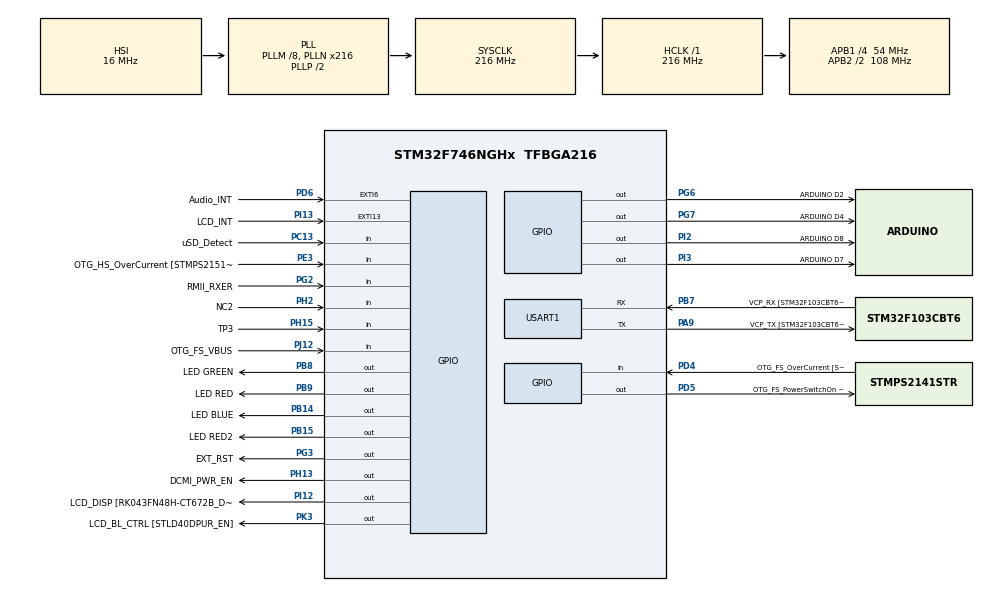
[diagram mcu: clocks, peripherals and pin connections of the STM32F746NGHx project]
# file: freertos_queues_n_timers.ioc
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Mcu.Family=STM32F7
Mcu.Name=STM32F746NGHx
Mcu.Package=TFBGA216
NVIC.PriorityGroup=NVIC_PRIORITYGROUP_4
NVIC.TIM6_DAC_IRQn=true\:15\:0\:false\:false\:true\:false\:true\:true
NVIC.TimeBase=TIM6_DAC_IRQn
NVIC.TimeBaseIP=TIM6
NVIC.USART1_IRQn=true\:6\:0\:true\:false\:true\:true\:true\:true
PA0/WKUP.GPIO_Label=ARDUINO A0
PA0/WKUP.GPIO_Mode=GPIO_MODE_ANALOG
PA0/WKUP.GPIO_PuPd=GPIO_NOPULL
PA0/WKUP.Signal=ADCx_IN0
PA1.GPIO_Label=RMII_REF_CLK [LAN8742A-CZ-TR_REFCLK0]
PA1.Signal=ETH_REF_CLK
PA10.GPIO_Label=OTG_FS_ID
PA10.Signal=USB_OTG_FS_ID
PA11.GPIO_Label=OTG_FS_N
PA11.Signal=USB_OTG_FS_DM
PA12.GPIO_Label=OTG_FS_P
PA12.Signal=USB_OTG_FS_DP
PA13.GPIO_Label=SWDIO
PA13.Signal=SYS_JTMS-SWDIO
PA14.GPIO_Label=SWCLK
PA14.Signal=SYS_JTCK-SWCLK
PA15.GPIO_Label=ARDUINO PWM/D9
PA15.GPIO_ModeDefaultPP=GPIO_MODE_AF_PP
PA15.GPIO_PuPd=GPIO_NOPULL
PA15.GPIO_Speed=GPIO_SPEED_FREQ_LOW
PA15.Signal=S_TIM2_CH1_ETR
PA2.GPIO_Label=RMII_MDIO [LAN8742A-CZ-TR_MDIO]
PA2.Signal=ETH_MDIO
PA3.GPIO_Label=ULPI_D0 [USB3320C-EZK_D0]
PA3.Signal=USB_OTG_HS_ULPI_D0
PA4.GPIO_Label=DCMI_HSYNC
PA4.Signal=DCMI_HSYNC
PA5.GPIO_Label=ULPI_CLK [USB3320C-EZK_CLKOUT]
PA5.Signal=USB_OTG_HS_ULPI_CK
PA6.Signal=DCMI_PIXCLK
PA7.GPIO_Label=RMII_CRS_DV [LAN8742A-CZ-TR_CRS_DV]
PA7.Signal=ETH_CRS_DV
PA8.GPIO_Label=ARDUINO PWM/D10
PA8.GPIO_ModeDefaultPP=GPIO_MODE_AF_PP
PA8.GPIO_PuPd=GPIO_NOPULL
PA8.GPIO_Speed=GPIO_SPEED_FREQ_LOW
PA8.Signal=S_TIM1_CH1
PA9.GPIO_Label=VCP_TX [STM32F103CBT6_PA3]
PA9.GPIO_Mode=GPIO_MODE_AF_PP
PA9.GPIO_PuPd=GPIO_NOPULL
PA9.GPIO_Speed=GPIO_SPEED_FREQ_LOW
PA9.Mode=Asynchronous
PA9.Signal=USART1_TX
PB0.GPIO_Label=ULPI_D1 [USB3320C-EZK_D1]
PB0.Signal=USB_OTG_HS_ULPI_D1
PB1.GPIO_Label=ULPI_D2 [USB3320C-EZK_D2]
PB1.Signal=USB_OTG_HS_ULPI_D2
PB10.GPIO_Label=ULPI_D3 [USB3320C-EZK_D3]
PB10.Signal=USB_OTG_HS_ULPI_D3
PB11.GPIO_Label=ULPI_D4 [USB3320C-EZK_D4]
PB11.Signal=USB_OTG_HS_ULPI_D4
PB12.GPIO_Label=ULPI_D5 [USB3320C-EZK_D5]
PB12.Signal=USB_OTG_HS_ULPI_D5
PB13.GPIO_Label=ULPI_D6 [USB3320C-EZK_D6]
PB13.Signal=USB_OTG_HS_ULPI_D6
PB14.GPIO_Label=LED BLUE
PB14.Signal=GPIO_Output
PB15.GPIO_Label=LED RED2
PB15.Signal=GPIO_Output
PB2.Signal=QUADSPI_CLK
PB3.GPIO_Label=SWO
PB3.Signal=SYS_JTDO-SWO
PB4.GPIO_Label=ARDUINO PWM/D3
PB4.GPIO_ModeDefaultPP=GPIO_MODE_AF_PP
PB4.GPIO_PuPd=GPIO_NOPULL
PB4.GPIO_Speed=GPIO_SPEED_FREQ_LOW
PB4.Signal=S_TIM3_CH1
PB5.GPIO_Label=ULPI_D7 [USB3320C-EZK_D7]
PB5.Signal=USB_OTG_HS_ULPI_D7
PB6.GPIO_Label=QSPI_NCS [N25Q128A13EF840E_S]
PB6.Signal=QUADSPI_BK1_NCS
PB7.GPIO_Label=VCP_RX [STM32F103CBT6_PA2]
PB7.GPIO_Mode=GPIO_MODE_AF_PP
PB7.GPIO_PuPd=GPIO_NOPULL
PB7.GPIO_Speed=GPIO_SPEED_FREQ_LOW
PB7.Mode=Asynchronous
PB7.Signal=USART1_RX
PB8.GPIO_Label=LED GREEN
PB8.Signal=GPIO_Output
PB9.GPIO_Label=LED RED
PB9.Signal=GPIO_Output
PC0.GPIO_Label=ULPI_STP [USB3320C-EZK_STP]
PC0.Signal=USB_OTG_HS_ULPI_STP
PC1.GPIO_Label=RMII_MDC [LAN8742A-CZ-TR_MDC]
PC1.Signal=ETH_MDC
PC10.GPIO_Label=SDMMC_D2
PC10.Signal=SDMMC1_D2
PC11.GPIO_Label=SDMMC_D3
PC11.Signal=SDMMC1_D3
PC12.GPIO_Label=SDMMC_CK
PC12.Signal=SDMMC1_CK
PC13.GPIO_Label=uSD_Detect
PC13.Signal=GPIO_Input
PC14/OSC32_IN.GPIO_Label=RCC_OSC32_IN
PC14/OSC32_IN.Signal=RCC_OSC32_IN
PC15/OSC32_OUT.GPIO_Label=RCC_OSC32_OUT
PC15/OSC32_OUT.Signal=RCC_OSC32_OUT
PC2.GPIO_Label=ULPI_DIR [USB3320C-EZK_DIR]
PC2.Signal=USB_OTG_HS_ULPI_DIR
PC3.GPIO_Label=FMC_SDCKE0 [MT48LC4M32B2B5-6A_CKE]
PC3.Signal=FMC_SDCKE0
PC4.GPIO_Label=RMII_RXD0 [LAN8742A-CZ-TR_RXD0]
PC4.Signal=ETH_RXD0
PC5.GPIO_Label=RMII_RXD1 [LAN8742A-CZ-TR_RXD1]
PC5.Signal=ETH_RXD1
PC6.GPIO_Label=ARDUINO TX/D1
PC6.Signal=USART6_TX
PC7.GPIO_Label=ARDUINO RX/D0
PC7.Signal=USART6_RX
PC8.Signal=SDMMC1_D0
PC9.Signal=SDMMC1_D1
PD0.GPIO_Label=FMC_D2 [MT48LC4M32B2B5-6A_DQ2]
PD0.Signal=FMC_D2_DA2
PD1.GPIO_Label=FMC_D3 [MT48LC4M32B2B5-6A_DQ3]
PD1.Signal=FMC_D3_DA3
PD10.GPIO_Label=FMC_D15 [MT48LC4M32B2B5-6A_DQ15]
PD10.Signal=FMC_D15_DA15
PD11.GPIO_Label=QSPI_D0 [N25Q128A13EF840E_DQ0]
PD11.Signal=QUADSPI_BK1_IO0
PD12.GPIO_Label=QSPI_D1 [N25Q128A13EF840E_DQ1]
PD12.Signal=QUADSPI_BK1_IO1
PD13.GPIO_Label=QSPI_D3 [N25Q128A13EF840E_DQ3]
PD13.Signal=QUADSPI_BK1_IO3
PD14.GPIO_Label=FMC_D0 [MT48LC4M32B2B5-6A_DQ0]
PD14.Signal=FMC_D0_DA0
PD15.GPIO_Label=FMC_D1 [MT48LC4M32B2B5-6A_DQ1]
PD15.Signal=FMC_D1_DA1
PD2.GPIO_Label=SDMMC_D0
PD2.Signal=SDMMC1_CMD
PD3.GPIO_Label=DCMI_D5
PD3.Signal=DCMI_D5
PD4.GPIO_Label=OTG_FS_OverCurrent [STMPS2141STR_Fault]
PD4.Signal=GPIO_Input
PD5.GPIO_Label=OTG_FS_PowerSwitchOn [STMPS2141STR_EN]
PD5.PinState=GPIO_PIN_SET
PD5.Signal=GPIO_Output
PD6.GPIO_Label=Audio_INT
PD6.GPIO_ModeDefaultEXTI=GPIO_MODE_EVT_RISING
PD6.Signal=GPXTI6
PD7.GPIO_Label=SPDIF_RX0 [74LVC1G04SE_4]
PD7.Signal=SPDIFRX_IN0
PD8.GPIO_Label=FMC_D13 [MT48LC4M32B2B5-6A_DQ13]
PD8.Signal=FMC_D13_DA13
PD9.GPIO_Label=FMC_D14 [MT48LC4M32B2B5-6A_DQ14]
PD9.Signal=FMC_D14_DA14
PE0.GPIO_Label=FMC_NBL0 [MT48LC4M32B2B5-6A_DQM0]
PE0.Signal=FMC_NBL0
PE1.GPIO_Label=FMC_NBL1 [MT48LC4M32B2B5-6A_DQM1]
PE1.Signal=FMC_NBL1
PE10.GPIO_Label=FMC_D7 [MT48LC4M32B2B5-6A_DQ7]
PE10.Signal=FMC_D7_DA7
PE11.GPIO_Label=FMC_D8 [MT48LC4M32B2B5-6A_DQ8]
PE11.Signal=FMC_D8_DA8
PE12.GPIO_Label=FMC_D9 [MT48LC4M32B2B5-6A_DQ9]
PE12.Signal=FMC_D9_DA9
PE13.GPIO_Label=FMC_D10 [MT48LC4M32B2B5-6A_DQ10]
PE13.Signal=FMC_D10_DA10
PE14.GPIO_Label=FMC_D11 [MT48LC4M32B2B5-6A_DQ11]
PE14.Signal=FMC_D11_DA11
PE15.GPIO_Label=FMC_D12 [MT48LC4M32B2B5-6A_DQ12]
PE15.Signal=FMC_D12_DA12
PE2.GPIO_Label=QSPI_D2 [N25Q128A13EF840E_DQ2]
PE2.Signal=QUADSPI_BK1_IO2
PE3.GPIO_Label=OTG_HS_OverCurrent [STMPS2151STR_FAULT]
PE3.Signal=GPIO_Input
PE4.GPIO_Label=LCD_B0 [RK043FN48H-CT672B_B0]
PE4.Signal=LTDC_B0
PE5.GPIO_Label=DCMI_D6
PE5.Signal=DCMI_D6
PE6.GPIO_Label=DCMI_D7
PE6.Signal=DCMI_D7
PE7.GPIO_Label=FMC_D4 [MT48LC4M32B2B5-6A_DQ4]
PE7.Signal=FMC_D4_DA4
PE8.GPIO_Label=FMC_D5 [MT48LC4M32B2B5-6A_DQ5]
PE8.Signal=FMC_D5_DA5
PE9.GPIO_Label=FMC_D6 [MT48LC4M32B2B5-6A_DQ6]
PE9.Signal=FMC_D6_DA6
PF0.GPIO_Label=FMC_A0 [MT48LC4M32B2B5-6A_A0]
PF0.Signal=FMC_A0
PF1.GPIO_Label=FMC_A1 [MT48LC4M32B2B5-6A_A1]
PF1.Signal=FMC_A1
PF10.GPIO_Label=ARDUINO A1
PF10.GPIO_Mode=GPIO_MODE_ANALOG
PF10.GPIO_PuPd=GPIO_NOPULL
PF10.Signal=ADC3_IN8
PF11.GPIO_Label=FMC_SDNRAS [MT48LC4M32B2B5-6A_RAS]
PF11.Signal=FMC_SDNRAS
PF12.GPIO_Label=FMC_A6 [MT48LC4M32B2B5-6A_A6]
PF12.Signal=FMC_A6
PF13.GPIO_Label=FMC_A7 [MT48LC4M32B2B5-6A_A7]
PF13.Signal=FMC_A7
PF14.GPIO_Label=FMC_A8 [MT48LC4M32B2B5-6A_A8]
PF14.Signal=FMC_A8
PF15.GPIO_Label=FMC_A9 [MT48LC4M32B2B5-6A_A9]
PF15.Signal=FMC_A9
PF2.GPIO_Label=FMC_A2 [MT48LC4M32B2B5-6A_A2]
PF2.Signal=FMC_A2
PF3.GPIO_Label=FMC_A3 [MT48LC4M32B2B5-6A_A3]
PF3.Signal=FMC_A3
PF4.GPIO_Label=FMC_A4 [MT48LC4M32B2B5-6A_A4]
PF4.Signal=FMC_A4
PF5.GPIO_Label=FMC_A5 [MT48LC4M32B2B5-6A_A5]
PF5.Signal=FMC_A5
PF6.GPIO_Label=ARDUINO A5
PF6.GPIO_Mode=GPIO_MODE_ANALOG
PF6.GPIO_PuPd=GPIO_NOPULL
PF6.Signal=ADC3_IN4
PF7.GPIO_Label=ARDUINO A4
PF7.GPIO_Mode=GPIO_MODE_ANALOG
PF7.GPIO_PuPd=GPIO_NOPULL
PF7.Signal=ADC3_IN5
PF8.GPIO_Label=ARDUINO A3
PF8.GPIO_Mode=GPIO_MODE_ANALOG
PF8.GPIO_PuPd=GPIO_NOPULL
PF8.Signal=ADC3_IN6
PF9.GPIO_Label=ARDUINO A2
PF9.GPIO_Mode=GPIO_MODE_ANALOG
PF9.GPIO_PuPd=GPIO_NOPULL
PF9.Signal=ADC3_IN7
PG0.GPIO_Label=FMC_A10 [MT48LC4M32B2B5-6A_A10]
PG0.Signal=FMC_A10
PG1.GPIO_Label=FMC_A11 [MT48LC4M32B2B5-6A_A11]
PG1.Signal=FMC_A11
PG10.GPIO_Label=SAI2_SDB [WM8994ECS/R_ADCDAT1]
PG10.Signal=SAI2_SD_B
PG11.GPIO_Label=RMII_TX_EN [LAN8742A-CZ-TR_TXEN]
PG11.Signal=ETH_TX_EN
PG12.GPIO_Label=LCD_B4 [RK043FN48H-CT672B_B4]
PG12.Signal=LTDC_B4
PG13.GPIO_Label=RMII_TXD0 [LAN8742A-CZ-TR_TXD0]
PG13.Signal=ETH_TXD0
PG14.GPIO_Label=RMII_TXD1 [LAN8742A-CZ-TR_TXD1]
PG14.Signal=ETH_TXD1
PG15.GPIO_Label=FMC_SDNCAS [MT48LC4M32B2B5-6A_CAS]
PG15.Signal=FMC_SDNCAS
PG2.GPIO_Label=RMII_RXER
PG2.Signal=GPIO_Input
PG3.GPIO_Label=EXT_RST
PG3.Signal=GPIO_Output
PG4.GPIO_Label=FMC_BA0 [MT48LC4M32B2B5-6A_BA0]
PG4.Signal=FMC_A14_BA0
PG5.GPIO_Label=FMC_BA1 [MT48LC4M32B2B5-6A_BA1]
PG5.Signal=FMC_A15_BA1
PG6.GPIO_Label=ARDUINO D2
PG6.Signal=GPIO_Output
PG7.GPIO_Label=ARDUINO D4
PG7.Signal=GPIO_Output
PG8.GPIO_Label=FMC_SDCLK [MT48LC4M32B2B5-6A_CLK]
PG8.Signal=FMC_SDCLK
PG9.GPIO_Label=DCMI_VSYNC
PG9.Signal=DCMI_VSYNC
PH0/OSC_IN.GPIO_Label=OSC_25M [NZ2520SB-25.00M_OUT]
PH0/OSC_IN.Signal=RCC_OSC_IN
PH1/OSC_OUT.Signal=RCC_OSC_OUT
PH10.GPIO_Label=DCMI_D1
PH10.Signal=DCMI_D1
PH11.GPIO_Label=DCMI_D2
PH11.Signal=DCMI_D2
PH12.GPIO_Label=DCMI_D3
PH12.Signal=DCMI_D3
PH13.GPIO_Label=DCMI_PWR_EN
PH13.Signal=GPIO_Output
PH14.GPIO_Label=DCMI_D4
PH14.Signal=DCMI_D4
PH15.GPIO_Label=TP3
PH15.Signal=GPIO_Input
PH2.GPIO_Label=NC2
PH2.Signal=GPIO_Input
PH3.GPIO_Label=FMC_SDNE0 [MT48LC4M32B2B5-6A_CS]
PH3.Signal=FMC_SDNE0
PH4.GPIO_Label=ULPI_NXT [USB3320C-EZK_NXT]
PH4.Signal=USB_OTG_HS_ULPI_NXT
PH5.GPIO_Label=FMC_SDNME [MT48LC4M32B2B5-6A_WE]
PH5.Signal=FMC_SDNWE
PH6.GPIO_Label=ARDUINO PWM/D6
PH6.Signal=S_TIM12_CH1
PH7.GPIO_Label=LCD_SCL [RK043FN48H-CT672B_SCL]
PH7.Signal=I2C3_SCL
PH8.GPIO_Label=LCD_SDA [RK043FN48H-CT672B_SDA]
PH8.Signal=I2C3_SDA
PH9.GPIO_Label=DCMI_D0
PH9.Signal=DCMI_D0
PI0.GPIO_Label=ARDUINO PWM/CS/D5
PI0.GPIO_ModeDefaultPP=GPIO_MODE_AF_PP
PI0.GPIO_PuPd=GPIO_NOPULL
PI0.GPIO_Speed=GPIO_SPEED_FREQ_LOW
PI0.Signal=S_TIM5_CH4
PI1.GPIO_Label=ARDUINO SCK/D13
PI1.GPIO_Mode=GPIO_MODE_AF_PP
PI1.GPIO_PuPd=GPIO_NOPULL
PI1.GPIO_Speed=GPIO_SPEED_FREQ_LOW
PI1.Signal=SPI2_SCK
PI10.GPIO_Label=LCD_HSYNC [RK043FN48H-CT672B_HSYNC]
PI10.Signal=LTDC_HSYNC
PI12.GPIO_Label=LCD_DISP [RK043FN48H-CT672B_DISP] 
PI12.Signal=GPIO_Output
PI13.GPIO_Label=LCD_INT
PI13.GPIO_ModeDefaultEXTI=GPIO_MODE_EVT_RISING
PI13.Signal=GPXTI13
PI14.GPIO_Label=LCD_CLK [RK043FN48H-CT672B_CLK]
PI14.Signal=LTDC_CLK
PI15.GPIO_Label=LCD_R0 [RK043FN48H-CT672B_R0]
PI15.Signal=LTDC_R0
PI2.GPIO_Label=ARDUINO D8
PI2.Signal=GPIO_Output
PI3.GPIO_Label=ARDUINO D7
PI3.Signal=GPIO_Output
PI4.GPIO_Label=SAI2_MCLKA [WM8994ECS/R_MCLK1]
PI4.Signal=SAI2_MCLK_A
PI5.GPIO_Label=SAI2_SCKA [WM8994ECS/R_BCLK1]
PI5.Signal=SAI2_SCK_A
PI6.GPIO_Label=SAI2_SDA [WM8994ECS/R_DACDAT1]
PI6.Signal=SAI2_SD_A
PI7.GPIO_Label=SAI2_FSA [WM8994ECS/R_LRCLK1]
PI7.Signal=SAI2_FS_A
PI8.GPIO_Label=NC1 [TP2]
PI8.Signal=RTC_TS
PI9.GPIO_Label=LCD_VSYNC [RK043FN48H-CT672B_VSYNC]
PI9.Signal=LTDC_VSYNC
PJ0.GPIO_Label=LCD_R1 [RK043FN48H-CT672B_R1]
PJ0.Signal=LTDC_R1
PJ1.GPIO_Label=LCD_R2 [RK043FN48H-CT672B_R2]
PJ1.Signal=LTDC_R2
PJ10.GPIO_Label=LCD_G3 [RK043FN48H-CT672B_G3]
PJ10.Signal=LTDC_G3
PJ11.GPIO_Label=LCD_G4 [RK043FN48H-CT672B_G4]
PJ11.Signal=LTDC_G4
PJ12.GPIO_Label=OTG_FS_VBUS
PJ12.Signal=GPIO_Input
PJ13.GPIO_Label=LCD_B1 [RK043FN48H-CT672B_B1]
PJ13.Signal=LTDC_B1
PJ14.GPIO_Label=LCD_B2 [RK043FN48H-CT672B_B2]
PJ14.Signal=LTDC_B2
PJ15.GPIO_Label=LCD_B3 [RK043FN48H-CT672B_B3]
PJ15.Signal=LTDC_B3
PJ2.GPIO_Label=LCD_R3 [RK043FN48H-CT672B_R3]
PJ2.Signal=LTDC_R3
PJ3.GPIO_Label=LCD_R4 [RK043FN48H-CT672B_R4]
PJ3.Signal=LTDC_R4
PJ4.GPIO_Label=LCD_R5 [RK043FN48H-CT672B_R5]
PJ4.Signal=LTDC_R5
PJ5.GPIO_Label=LCD_R6 [RK043FN48H-CT672B_R6]
PJ5.Signal=LTDC_R6
PJ6.GPIO_Label=LCD_R7 [RK043FN48H-CT672B_R7]
PJ6.Signal=LTDC_R7
PJ7.GPIO_Label=LCD_G0 [RK043FN48H-CT672B_G0]
PJ7.Signal=LTDC_G0
PJ8.GPIO_Label=LCD_G1 [RK043FN48H-CT672B_G1]
PJ8.Signal=LTDC_G1
PJ9.GPIO_Label=LCD_G2 [RK043FN48H-CT672B_G2]
PJ9.Signal=LTDC_G2
PK0.GPIO_Label=LCD_G5 [RK043FN48H-CT672B_G5]
PK0.Signal=LTDC_G5
PK1.GPIO_Label=LCD_G6 [RK043FN48H-CT672B_G6]
PK1.Signal=LTDC_G6
PK2.GPIO_Label=LCD_G7 [RK043FN48H-CT672B_G7]
PK2.Signal=LTDC_G7
PK3.GPIO_Label=LCD_BL_CTRL [STLD40DPUR_EN]
PK3.Signal=GPIO_Output
PK4.GPIO_Label=LCD_B5 [RK043FN48H-CT672B_B5]
PK4.Signal=LTDC_B5
PK5.GPIO_Label=LCD_B6 [RK043FN48H-CT672B_B6]
PK5.Signal=LTDC_B6
PK6.GPIO_Label=LCD_B7 [RK043FN48H-CT672B_B7]
PK6.Signal=LTDC_B7
PK7.GPIO_Label=LCD_DE [RK043FN48H-CT672B_DE]
PK7.Signal=LTDC_DE
ProjectManager.HeapSize=0x200
ProjectManager.StackSize=0x400
ProjectManager.TargetToolchain=STM32CubeIDE
RCC.AHBFreq_Value=216000000
RCC.APB1CLKDivider=RCC_HCLK_DIV4
RCC.APB1Freq_Value=54000000
RCC.APB1TimFreq_Value=108000000
RCC.APB2CLKDivider=RCC_HCLK_DIV2
RCC.APB2Freq_Value=108000000
RCC.APB2TimFreq_Value=216000000
RCC.CortexFreq_Value=216000000
RCC.HCLKFreq_Value=216000000
RCC.HSE_VALUE=25000000
RCC.HSI_VALUE=16000000
RCC.LSE_VALUE=32768
RCC.PLLM=8
RCC.PLLN=216
RCC.PLLSourceVirtual=RCC_PLLSOURCE_HSI
RCC.SYSCLKFreq_VALUE=216000000
RCC.SYSCLKSource=RCC_SYSCLKSOURCE_PLLCLK
RCC.USBFreq_Value=216000000
RCC.VCOOutputFreq_Value=432000000
SH.ADCx_IN0.0=ADC3_IN0
SH.FMC_A0.0=FMC_A0
SH.FMC_A1.0=FMC_A1
SH.FMC_A10.0=FMC_A10
SH.FMC_A11.0=FMC_A11
SH.FMC_A14_BA0.0=FMC_BA0
SH.FMC_A15_BA1.0=FMC_BA1
SH.FMC_A2.0=FMC_A2
SH.FMC_A3.0=FMC_A3
SH.FMC_A4.0=FMC_A4
SH.FMC_A5.0=FMC_A5
SH.FMC_A6.0=FMC_A6
SH.FMC_A7.0=FMC_A7
SH.FMC_A8.0=FMC_A8
SH.FMC_A9.0=FMC_A9
SH.FMC_D0_DA0.0=FMC_D0
SH.FMC_D10_DA10.0=FMC_D10
SH.FMC_D11_DA11.0=FMC_D11
SH.FMC_D12_DA12.0=FMC_D12
SH.FMC_D13_DA13.0=FMC_D13
SH.FMC_D14_DA14.0=FMC_D14
SH.FMC_D15_DA15.0=FMC_D15
SH.FMC_D1_DA1.0=FMC_D1
SH.FMC_D2_DA2.0=FMC_D2
SH.FMC_D3_DA3.0=FMC_D3
SH.FMC_D4_DA4.0=FMC_D4
SH.FMC_D5_DA5.0=FMC_D5
SH.FMC_D6_DA6.0=FMC_D6
SH.FMC_D7_DA7.0=FMC_D7
SH.FMC_D8_DA8.0=FMC_D8
SH.FMC_D9_DA9.0=FMC_D9
SH.FMC_NBL0.0=FMC_NBL0
SH.FMC_NBL1.0=FMC_NBL1
SH.FMC_SDCLK.0=FMC_SDCLK
SH.FMC_SDNCAS.0=FMC_SDNCAS
SH.FMC_SDNRAS.0=FMC_SDNRAS
SH.FMC_SDNWE.0=FMC_SDNWE
SH.S_TIM12_CH1.0=TIM12_CH1
SH.S_TIM1_CH1.0=TIM1_CH1
SH.S_TIM2_CH1_ETR.0=TIM2_CH1
SH.S_TIM3_CH1.0=TIM3_CH1
SH.S_TIM5_CH4.0=TIM5_CH4
USART1.VirtualMode-Asynchronous=VM_ASYNC
VP_RTC_VS_RTC_Activate.Mode=RTC_Enabled
VP_SYS_VS_tim6.Mode=TIM6
board=STM32F746G-DISCO

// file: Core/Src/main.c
/* USER CODE BEGIN Header */
/**
  ******************************************************************************
  * @file           : main.c
  * @brief          : Main program body
  ******************************************************************************
  * @attention
  *
  * Copyright (c) 2023 STMicroelectronics.
  * All rights reserved.
  *
  * This software is licensed under terms that can be found in the LICENSE file
  * in the root directory of this software component.
  * If no LICENSE file comes with this software, it is provided AS-IS.
  *
  ******************************************************************************
  */
/* USER CODE END Header */
#include "main.h"

RTC_HandleTypeDef hrtc;

UART_HandleTypeDef huart1;

/* USER CODE BEGIN PV */
xTaskHandle handle_menu_task;
xTaskHandle handle_cmd_task;
xTaskHandle handle_print_task;
xTaskHandle handle_led_task;
xTaskHandle handle_rtc_task;

xTimerHandle handle_led_timer[4];

xTimerHandle rtc_timer;

QueueHandle_t q_data;
QueueHandle_t q_print;

volatile uint8_t user_data;
state_t curr_state = sMainMenu;
/* USER CODE END PV */

void SystemClock_Config(void);
static void MX_GPIO_Init(void);
static void MX_RTC_Init(void);
static void MX_USART1_UART_Init(void);
/* USER CODE BEGIN PFP */
void led_effect_callback(xTimerHandle xTimer);
void rtc_report_callback(xTimerHandle xTimer);
/* USER CODE END PFP */

int main(void)
{
  /* USER CODE BEGIN 1 */
	BaseType_t status;
  /* USER CODE END 1 */

  /* MCU Configuration--------------------------------------------------------*/

  /* Reset of all peripherals, Initializes the Flash interface and the Systick. */
  HAL_Init();

  /* Configure the system clock */
  SystemClock_Config();

  /* Initialize all configured peripherals */
  MX_GPIO_Init();
  MX_RTC_Init();
  MX_USART1_UART_Init();
  /* USER CODE BEGIN 2 */

  status = xTaskCreate(menu_task, "menu_task", 250, NULL, 2, &handle_menu_task);

  configASSERT(status == pdPASS);

  status = xTaskCreate(cmd_handler_task, "cmd_task", 250, NULL, 2, &handle_cmd_task);

  configASSERT(status == pdPASS);

  status = xTaskCreate(print_task, "print_task", 250, NULL, 2, &handle_print_task);

  configASSERT(status == pdPASS);

  status = xTaskCreate(led_task, "led_task", 250, NULL, 2, &handle_led_task);

  configASSERT(status == pdPASS);

  status = xTaskCreate(rtc_task, "rtc_task", 250, NULL, 2, &handle_rtc_task);

  configASSERT(status == pdPASS);

  q_data = xQueueCreate(10, sizeof(char));

  configASSERT(q_data != NULL);

  q_print = xQueueCreate(10, sizeof(size_t));

  configASSERT(q_print != NULL);

  //Create software timers for LED effect
  for (int i=0; i < 4; i++)
  {
	  handle_led_timer[i] = xTimerCreate("led_timer", pdMS_TO_TICKS(500), pdTRUE, (void*)(i+1), led_effect_callback);
  }

  rtc_timer = xTimerCreate("rtc_timer", pdMS_TO_TICKS(1000), pdTRUE, NULL, rtc_report_callback);

  HAL_UART_Receive_IT(&huart1, (uint8_t*)&user_data, 1);

  vTaskStartScheduler();

  /* USER CODE END 2 */

  /* Infinite loop */
  while (1)
  {

  }
}

void SystemClock_Config(void)
{
  RCC_OscInitTypeDef RCC_OscInitStruct = {0};
  RCC_ClkInitTypeDef RCC_ClkInitStruct = {0};

  /** Configure the main internal regulator output voltage
  */
  __HAL_RCC_PWR_CLK_ENABLE();
  __HAL_PWR_VOLTAGESCALING_CONFIG(PWR_REGULATOR_VOLTAGE_SCALE1);

  /** Initializes the RCC Oscillators according to the specified parameters
  * in the RCC_OscInitTypeDef structure.
  */
  RCC_OscInitStruct.OscillatorType = RCC_OSCILLATORTYPE_HSI|RCC_OSCILLATORTYPE_LSI;
  RCC_OscInitStruct.HSIState = RCC_HSI_ON;
  RCC_OscInitStruct.HSICalibrationValue = RCC_HSICALIBRATION_DEFAULT;
  RCC_OscInitStruct.LSIState = RCC_LSI_ON;
  RCC_OscInitStruct.PLL.PLLState = RCC_PLL_ON;
  RCC_OscInitStruct.PLL.PLLSource = RCC_PLLSOURCE_HSI;
  RCC_OscInitStruct.PLL.PLLM = 8;
  RCC_OscInitStruct.PLL.PLLN = 216;
  RCC_OscInitStruct.PLL.PLLP = RCC_PLLP_DIV2;
  RCC_OscInitStruct.PLL.PLLQ = 2;
  if (HAL_RCC_OscConfig(&RCC_OscInitStruct) != HAL_OK)
  {
    Error_Handler();
  }

  /** Activate the Over-Drive mode
  */
  if (HAL_PWREx_EnableOverDrive() != HAL_OK)
  {
    Error_Handler();
  }

  /** Initializes the CPU, AHB and APB buses clocks
  */
  RCC_ClkInitStruct.ClockType = RCC_CLOCKTYPE_HCLK|RCC_CLOCKTYPE_SYSCLK
                              |RCC_CLOCKTYPE_PCLK1|RCC_CLOCKTYPE_PCLK2;
  RCC_ClkInitStruct.SYSCLKSource = RCC_SYSCLKSOURCE_PLLCLK;
  RCC_ClkInitStruct.AHBCLKDivider = RCC_SYSCLK_DIV1;
  RCC_ClkInitStruct.APB1CLKDivider = RCC_HCLK_DIV4;
  RCC_ClkInitStruct.APB2CLKDivider = RCC_HCLK_DIV2;

  if (HAL_RCC_ClockConfig(&RCC_ClkInitStruct, FLASH_LATENCY_7) != HAL_OK)
  {
    Error_Handler();
  }
}

static void MX_RTC_Init(void)
{

  /** Initialize RTC Only
  */
  hrtc.Instance = RTC;
  hrtc.Init.HourFormat = RTC_HOURFORMAT_24;
  hrtc.Init.AsynchPrediv = 127;
  hrtc.Init.SynchPrediv = 255;
  hrtc.Init.OutPut = RTC_OUTPUT_DISABLE;
  hrtc.Init.OutPutPolarity = RTC_OUTPUT_POLARITY_HIGH;
  hrtc.Init.OutPutType = RTC_OUTPUT_TYPE_OPENDRAIN;
  if (HAL_RTC_Init(&hrtc) != HAL_OK)
  {
    Error_Handler();
  }

}

static void MX_USART1_UART_Init(void)
{

  huart1.Instance = USART1;
  huart1.Init.BaudRate = 115200;
  huart1.Init.WordLength = UART_WORDLENGTH_8B;
  huart1.Init.StopBits = UART_STOPBITS_1;
  huart1.Init.Parity = UART_PARITY_NONE;
  huart1.Init.Mode = UART_MODE_TX_RX;
  huart1.Init.HwFlowCtl = UART_HWCONTROL_NONE;
  huart1.Init.OverSampling = UART_OVERSAMPLING_16;
  huart1.Init.OneBitSampling = UART_ONE_BIT_SAMPLE_DISABLE;
  huart1.AdvancedInit.AdvFeatureInit = UART_ADVFEATURE_NO_INIT;
  if (HAL_UART_Init(&huart1) != HAL_OK)
  {
    Error_Handler();
  }

}

static void MX_GPIO_Init(void)
{
  GPIO_InitTypeDef GPIO_InitStruct = {0};

  /* GPIO Ports Clock Enable */
  __HAL_RCC_GPIOE_CLK_ENABLE();
  __HAL_RCC_GPIOG_CLK_ENABLE();
  __HAL_RCC_GPIOB_CLK_ENABLE();
  __HAL_RCC_GPIOD_CLK_ENABLE();
  __HAL_RCC_GPIOC_CLK_ENABLE();
  __HAL_RCC_GPIOA_CLK_ENABLE();
  __HAL_RCC_GPIOJ_CLK_ENABLE();
  __HAL_RCC_GPIOI_CLK_ENABLE();
  __HAL_RCC_GPIOK_CLK_ENABLE();
  __HAL_RCC_GPIOF_CLK_ENABLE();
  __HAL_RCC_GPIOH_CLK_ENABLE();

  /*Configure GPIO pin Output Level */
  HAL_GPIO_WritePin(GPIOB, LED_GREEN_Pin|LED_RED_Pin|LED_BLUE_Pin|LED_RED2_Pin, GPIO_PIN_RESET);

  /*Configure GPIO pin Output Level */
  HAL_GPIO_WritePin(OTG_FS_PowerSwitchOn_GPIO_Port, OTG_FS_PowerSwitchOn_Pin, GPIO_PIN_SET);

  /*Configure GPIO pin Output Level */
  HAL_GPIO_WritePin(GPIOI, ARDUINO_D7_Pin|ARDUINO_D8_Pin|LCD_DISP_Pin, GPIO_PIN_RESET);

  /*Configure GPIO pin Output Level */
  HAL_GPIO_WritePin(LCD_BL_CTRL_GPIO_Port, LCD_BL_CTRL_Pin, GPIO_PIN_RESET);

  /*Configure GPIO pin Output Level */
  HAL_GPIO_WritePin(DCMI_PWR_EN_GPIO_Port, DCMI_PWR_EN_Pin, GPIO_PIN_RESET);

  /*Configure GPIO pin Output Level */
  HAL_GPIO_WritePin(GPIOG, ARDUINO_D4_Pin|ARDUINO_D2_Pin|EXT_RST_Pin, GPIO_PIN_RESET);

  /*Configure GPIO pin : LCD_B0_Pin */
  GPIO_InitStruct.Pin = LCD_B0_Pin;
  GPIO_InitStruct.Mode = GPIO_MODE_AF_PP;
  GPIO_InitStruct.Pull = GPIO_NOPULL;
  GPIO_InitStruct.Speed = GPIO_SPEED_FREQ_LOW;
  GPIO_InitStruct.Alternate = GPIO_AF14_LTDC;
  HAL_GPIO_Init(LCD_B0_GPIO_Port, &GPIO_InitStruct);

  /*Configure GPIO pin : OTG_HS_OverCurrent_Pin */
  GPIO_InitStruct.Pin = OTG_HS_OverCurrent_Pin;
  GPIO_InitStruct.Mode = GPIO_MODE_INPUT;
  GPIO_InitStruct.Pull = GPIO_NOPULL;
  HAL_GPIO_Init(OTG_HS_OverCurrent_GPIO_Port, &GPIO_InitStruct);

  /*Configure GPIO pin : QSPI_D2_Pin */
  GPIO_InitStruct.Pin = QSPI_D2_Pin;
  GPIO_InitStruct.Mode = GPIO_MODE_AF_PP;
  GPIO_InitStruct.Pull = GPIO_NOPULL;
  GPIO_InitStruct.Speed = GPIO_SPEED_FREQ_VERY_HIGH;
  GPIO_InitStruct.Alternate = GPIO_AF9_QUADSPI;
  HAL_GPIO_Init(QSPI_D2_GPIO_Port, &GPIO_InitStruct);

  /*Configure GPIO pins : RMII_TXD1_Pin RMII_TXD0_Pin RMII_TX_EN_Pin */
  GPIO_InitStruct.Pin = RMII_TXD1_Pin|RMII_TXD0_Pin|RMII_TX_EN_Pin;
  GPIO_InitStruct.Mode = GPIO_MODE_AF_PP;
  GPIO_InitStruct.Pull = GPIO_NOPULL;
  GPIO_InitStruct.Speed = GPIO_SPEED_FREQ_VERY_HIGH;
  GPIO_InitStruct.Alternate = GPIO_AF11_ETH;
  HAL_GPIO_Init(GPIOG, &GPIO_InitStruct);

  /*Configure GPIO pins : FMC_NBL1_Pin FMC_NBL0_Pin FMC_D5_Pin FMC_D6_Pin
                           FMC_D8_Pin FMC_D11_Pin FMC_D4_Pin FMC_D7_Pin
                           FMC_D9_Pin FMC_D12_Pin FMC_D10_Pin */
  GPIO_InitStruct.Pin = FMC_NBL1_Pin|FMC_NBL0_Pin|FMC_D5_Pin|FMC_D6_Pin
                          |FMC_D8_Pin|FMC_D11_Pin|FMC_D4_Pin|FMC_D7_Pin
                          |FMC_D9_Pin|FMC_D12_Pin|FMC_D10_Pin;
  GPIO_InitStruct.Mode = GPIO_MODE_AF_PP;
  GPIO_InitStruct.Pull = GPIO_NOPULL;
  GPIO_InitStruct.Speed = GPIO_SPEED_FREQ_VERY_HIGH;
  GPIO_InitStruct.Alternate = GPIO_AF12_FMC;
  HAL_GPIO_Init(GPIOE, &GPIO_InitStruct);

  /*Configure GPIO pins : LED_GREEN_Pin LED_RED_Pin LED_BLUE_Pin LED_RED2_Pin */
  GPIO_InitStruct.Pin = LED_GREEN_Pin|LED_RED_Pin|LED_BLUE_Pin|LED_RED2_Pin;
  GPIO_InitStruct.Mode = GPIO_MODE_OUTPUT_PP;
  GPIO_InitStruct.Pull = GPIO_NOPULL;
  GPIO_InitStruct.Speed = GPIO_SPEED_FREQ_LOW;
  HAL_GPIO_Init(GPIOB, &GPIO_InitStruct);

  /*Configure GPIO pins : ULPI_D7_Pin ULPI_D6_Pin ULPI_D5_Pin ULPI_D3_Pin
                           ULPI_D2_Pin ULPI_D1_Pin ULPI_D4_Pin */
  GPIO_InitStruct.Pin = ULPI_D7_Pin|ULPI_D6_Pin|ULPI_D5_Pin|ULPI_D3_Pin
                          |ULPI_D2_Pin|ULPI_D1_Pin|ULPI_D4_Pin;
  GPIO_InitStruct.Mode = GPIO_MODE_AF_PP;
  GPIO_InitStruct.Pull = GPIO_NOPULL;
  GPIO_InitStruct.Speed = GPIO_SPEED_FREQ_VERY_HIGH;
  GPIO_InitStruct.Alternate = GPIO_AF10_OTG_HS;
  HAL_GPIO_Init(GPIOB, &GPIO_InitStruct);

  /*Configure GPIO pin : ARDUINO_PWM_D3_Pin */
  GPIO_InitStruct.Pin = ARDUINO_PWM_D3_Pin;
  GPIO_InitStruct.Mode = GPIO_MODE_AF_PP;
  GPIO_InitStruct.Pull = GPIO_NOPULL;
  GPIO_InitStruct.Speed = GPIO_SPEED_FREQ_LOW;
  GPIO_InitStruct.Alternate = GPIO_AF2_TIM3;
  HAL_GPIO_Init(ARDUINO_PWM_D3_GPIO_Port, &GPIO_InitStruct);

  /*Configure GPIO pin : SPDIF_RX0_Pin */
  GPIO_InitStruct.Pin = SPDIF_RX0_Pin;
  GPIO_InitStruct.Mode = GPIO_MODE_AF_PP;
  GPIO_InitStruct.Pull = GPIO_NOPULL;
  GPIO_InitStruct.Speed = GPIO_SPEED_FREQ_LOW;
  GPIO_InitStruct.Alternate = GPIO_AF8_SPDIFRX;
  HAL_GPIO_Init(SPDIF_RX0_GPIO_Port, &GPIO_InitStruct);

  /*Configure GPIO pins : SDMMC_CK_Pin SDMMC_D3_Pin SDMMC_D2_Pin PC9
                           PC8 */
  GPIO_InitStruct.Pin = SDMMC_CK_Pin|SDMMC_D3_Pin|SDMMC_D2_Pin|GPIO_PIN_9
                          |GPIO_PIN_8;
  GPIO_InitStruct.Mode = GPIO_MODE_AF_PP;
  GPIO_InitStruct.Pull = GPIO_NOPULL;
  GPIO_InitStruct.Speed = GPIO_SPEED_FREQ_VERY_HIGH;
  GPIO_InitStruct.Alternate = GPIO_AF12_SDMMC1;
  HAL_GPIO_Init(GPIOC, &GPIO_InitStruct);

  /*Configure GPIO pin : ARDUINO_PWM_D9_Pin */
  GPIO_InitStruct.Pin = ARDUINO_PWM_D9_Pin;
  GPIO_InitStruct.Mode = GPIO_MODE_AF_PP;
  GPIO_InitStruct.Pull = GPIO_NOPULL;
  GPIO_InitStruct.Speed = GPIO_SPEED_FREQ_LOW;
  GPIO_InitStruct.Alternate = GPIO_AF1_TIM2;
  HAL_GPIO_Init(ARDUINO_PWM_D9_GPIO_Port, &GPIO_InitStruct);

  /*Configure GPIO pins : DCMI_D6_Pin DCMI_D7_Pin */
  GPIO_InitStruct.Pin = DCMI_D6_Pin|DCMI_D7_Pin;
  GPIO_InitStruct.Mode = GPIO_MODE_AF_PP;
  GPIO_InitStruct.Pull = GPIO_NOPULL;
  GPIO_InitStruct.Speed = GPIO_SPEED_FREQ_LOW;
  GPIO_InitStruct.Alternate = GPIO_AF13_DCMI;
  HAL_GPIO_Init(GPIOE, &GPIO_InitStruct);

  /*Configure GPIO pin : QSPI_NCS_Pin */
  GPIO_InitStruct.Pin = QSPI_NCS_Pin;
  GPIO_InitStruct.Mode = GPIO_MODE_AF_PP;
  GPIO_InitStruct.Pull = GPIO_NOPULL;
  GPIO_InitStruct.Speed = GPIO_SPEED_FREQ_VERY_HIGH;
  GPIO_InitStruct.Alternate = GPIO_AF10_QUADSPI;
  HAL_GPIO_Init(QSPI_NCS_GPIO_Port, &GPIO_InitStruct);

  /*Configure GPIO pins : FMC_SDNCAS_Pin FMC_SDCLK_Pin FMC_A11_Pin FMC_A10_Pin
                           FMC_BA1_Pin FMC_BA0_Pin */
  GPIO_InitStruct.Pin = FMC_SDNCAS_Pin|FMC_SDCLK_Pin|FMC_A11_Pin|FMC_A10_Pin
                          |FMC_BA1_Pin|FMC_BA0_Pin;
  GPIO_InitStruct.Mode = GPIO_MODE_AF_PP;
  GPIO_InitStruct.Pull = GPIO_NOPULL;
  GPIO_InitStruct.Speed = GPIO_SPEED_FREQ_VERY_HIGH;
  GPIO_InitStruct.Alternate = GPIO_AF12_FMC;
  HAL_GPIO_Init(GPIOG, &GPIO_InitStruct);

  /*Configure GPIO pins : LCD_B1_Pin LCD_B2_Pin LCD_B3_Pin LCD_G4_Pin
                           LCD_G1_Pin LCD_G3_Pin LCD_G0_Pin LCD_G2_Pin
                           LCD_R7_Pin LCD_R5_Pin LCD_R6_Pin LCD_R4_Pin
                           LCD_R3_Pin LCD_R1_Pin LCD_R2_Pin */
  GPIO_InitStruct.Pin = LCD_B1_Pin|LCD_B2_Pin|LCD_B3_Pin|LCD_G4_Pin
                          |LCD_G1_Pin|LCD_G3_Pin|LCD_G0_Pin|LCD_G2_Pin
                          |LCD_R7_Pin|LCD_R5_Pin|LCD_R6_Pin|LCD_R4_Pin
                          |LCD_R3_Pin|LCD_R1_Pin|LCD_R2_Pin;
  GPIO_InitStruct.Mode = GPIO_MODE_AF_PP;
  GPIO_InitStruct.Pull = GPIO_NOPULL;
  GPIO_InitStruct.Speed = GPIO_SPEED_FREQ_LOW;
  GPIO_InitStruct.Alternate = GPIO_AF14_LTDC;
  HAL_GPIO_Init(GPIOJ, &GPIO_InitStruct);

  /*Configure GPIO pin : OTG_FS_VBUS_Pin */
  GPIO_InitStruct.Pin = OTG_FS_VBUS_Pin;
  GPIO_InitStruct.Mode = GPIO_MODE_INPUT;
  GPIO_InitStruct.Pull = GPIO_NOPULL;
  HAL_GPIO_Init(OTG_FS_VBUS_GPIO_Port, &GPIO_InitStruct);

  /*Configure GPIO pin : Audio_INT_Pin */
  GPIO_InitStruct.Pin = Audio_INT_Pin;
  GPIO_InitStruct.Mode = GPIO_MODE_EVT_RISING;
  GPIO_InitStruct.Pull = GPIO_NOPULL;
  HAL_GPIO_Init(Audio_INT_GPIO_Port, &GPIO_InitStruct);

  /*Configure GPIO pins : FMC_D2_Pin FMC_D3_Pin FMC_D1_Pin FMC_D15_Pin
                           FMC_D0_Pin FMC_D14_Pin FMC_D13_Pin */
  GPIO_InitStruct.Pin = FMC_D2_Pin|FMC_D3_Pin|FMC_D1_Pin|FMC_D15_Pin
                          |FMC_D0_Pin|FMC_D14_Pin|FMC_D13_Pin;
  GPIO_InitStruct.Mode = GPIO_MODE_AF_PP;
  GPIO_InitStruct.Pull = GPIO_NOPULL;
  GPIO_InitStruct.Speed = GPIO_SPEED_FREQ_VERY_HIGH;
  GPIO_InitStruct.Alternate = GPIO_AF12_FMC;
  HAL_GPIO_Init(GPIOD, &GPIO_InitStruct);

  /*Configure GPIO pins : OTG_FS_P_Pin OTG_FS_N_Pin OTG_FS_ID_Pin */
  GPIO_InitStruct.Pin = OTG_FS_P_Pin|OTG_FS_N_Pin|OTG_FS_ID_Pin;
  GPIO_InitStruct.Mode = GPIO_MODE_AF_PP;
  GPIO_InitStruct.Pull = GPIO_NOPULL;
  GPIO_InitStruct.Speed = GPIO_SPEED_FREQ_VERY_HIGH;
  GPIO_InitStruct.Alternate = GPIO_AF10_OTG_FS;
  HAL_GPIO_Init(GPIOA, &GPIO_InitStruct);

  /*Configure GPIO pins : SAI2_MCLKA_Pin SAI2_SCKA_Pin SAI2_FSA_Pin SAI2_SDA_Pin */
  GPIO_InitStruct.Pin = SAI2_MCLKA_Pin|SAI2_SCKA_Pin|SAI2_FSA_Pin|SAI2_SDA_Pin;
  GPIO_InitStruct.Mode = GPIO_MODE_AF_PP;
  GPIO_InitStruct.Pull = GPIO_NOPULL;
  GPIO_InitStruct.Speed = GPIO_SPEED_FREQ_LOW;
  GPIO_InitStruct.Alternate = GPIO_AF10_SAI2;
  HAL_GPIO_Init(GPIOI, &GPIO_InitStruct);

  /*Configure GPIO pins : LCD_DE_Pin LCD_B7_Pin LCD_B6_Pin LCD_B5_Pin
                           LCD_G6_Pin LCD_G7_Pin LCD_G5_Pin */
  GPIO_InitStruct.Pin = LCD_DE_Pin|LCD_B7_Pin|LCD_B6_Pin|LCD_B5_Pin
                          |LCD_G6_Pin|LCD_G7_Pin|LCD_G5_Pin;
  GPIO_InitStruct.Mode = GPIO_MODE_AF_PP;
  GPIO_InitStruct.Pull = GPIO_NOPULL;
  GPIO_InitStruct.Speed = GPIO_SPEED_FREQ_LOW;
  GPIO_InitStruct.Alternate = GPIO_AF14_LTDC;
  HAL_GPIO_Init(GPIOK, &GPIO_InitStruct);

  /*Configure GPIO pin : LCD_B4_Pin */
  GPIO_InitStruct.Pin = LCD_B4_Pin;
  GPIO_InitStruct.Mode = GPIO_MODE_AF_PP;
  GPIO_InitStruct.Pull = GPIO_NOPULL;
  GPIO_InitStruct.Speed = GPIO_SPEED_FREQ_LOW;
  GPIO_InitStruct.Alternate = GPIO_AF9_LTDC;
  HAL_GPIO_Init(LCD_B4_GPIO_Port, &GPIO_InitStruct);

  /*Configure GPIO pin : SAI2_SDB_Pin */
  GPIO_InitStruct.Pin = SAI2_SDB_Pin;
  GPIO_InitStruct.Mode = GPIO_MODE_AF_PP;
  GPIO_InitStruct.Pull = GPIO_NOPULL;
  GPIO_InitStruct.Speed = GPIO_SPEED_FREQ_LOW;
  GPIO_InitStruct.Alternate = GPIO_AF10_SAI2;
  HAL_GPIO_Init(SAI2_SDB_GPIO_Port, &GPIO_InitStruct);

  /*Configure GPIO pin : OTG_FS_PowerSwitchOn_Pin */
  GPIO_InitStruct.Pin = OTG_FS_PowerSwitchOn_Pin;
  GPIO_InitStruct.Mode = GPIO_MODE_OUTPUT_PP;
  GPIO_InitStruct.Pull = GPIO_NOPULL;
  GPIO_InitStruct.Speed = GPIO_SPEED_FREQ_LOW;
  HAL_GPIO_Init(OTG_FS_PowerSwitchOn_GPIO_Port, &GPIO_InitStruct);

  /*Configure GPIO pin : DCMI_D5_Pin */
  GPIO_InitStruct.Pin = DCMI_D5_Pin;
  GPIO_InitStruct.Mode = GPIO_MODE_AF_PP;
  GPIO_InitStruct.Pull = GPIO_NOPULL;
  GPIO_InitStruct.Speed = GPIO_SPEED_FREQ_LOW;
  GPIO_InitStruct.Alternate = GPIO_AF13_DCMI;
  HAL_GPIO_Init(DCMI_D5_GPIO_Port, &GPIO_InitStruct);

  /*Configure GPIO pins : ARDUINO_D7_Pin ARDUINO_D8_Pin LCD_DISP_Pin */
  GPIO_InitStruct.Pin = ARDUINO_D7_Pin|ARDUINO_D8_Pin|LCD_DISP_Pin;
  GPIO_InitStruct.Mode = GPIO_MODE_OUTPUT_PP;
  GPIO_InitStruct.Pull = GPIO_NOPULL;
  GPIO_InitStruct.Speed = GPIO_SPEED_FREQ_LOW;
  HAL_GPIO_Init(GPIOI, &GPIO_InitStruct);

  /*Configure GPIO pin : uSD_Detect_Pin */
  GPIO_InitStruct.Pin = uSD_Detect_Pin;
  GPIO_InitStruct.Mode = GPIO_MODE_INPUT;
  GPIO_InitStruct.Pull = GPIO_NOPULL;
  HAL_GPIO_Init(uSD_Detect_GPIO_Port, &GPIO_InitStruct);

  /*Configure GPIO pins : FMC_A0_Pin FMC_A1_Pin FMC_A2_Pin FMC_A3_Pin
                           FMC_A4_Pin FMC_A5_Pin FMC_A6_Pin FMC_A9_Pin
                           FMC_A7_Pin FMC_A8_Pin FMC_SDNRAS_Pin */
  GPIO_InitStruct.Pin = FMC_A0_Pin|FMC_A1_Pin|FMC_A2_Pin|FMC_A3_Pin
                          |FMC_A4_Pin|FMC_A5_Pin|FMC_A6_Pin|FMC_A9_Pin
                          |FMC_A7_Pin|FMC_A8_Pin|FMC_SDNRAS_Pin;
  GPIO_InitStruct.Mode = GPIO_MODE_AF_PP;
  GPIO_InitStruct.Pull = GPIO_NOPULL;
  GPIO_InitStruct.Speed = GPIO_SPEED_FREQ_VERY_HIGH;
  GPIO_InitStruct.Alternate = GPIO_AF12_FMC;
  HAL_GPIO_Init(GPIOF, &GPIO_InitStruct);

  /*Configure GPIO pins : LCD_HSYNC_Pin LCD_VSYNC_Pin LCD_R0_Pin LCD_CLK_Pin */
  GPIO_InitStruct.Pin = LCD_HSYNC_Pin|LCD_VSYNC_Pin|LCD_R0_Pin|LCD_CLK_Pin;
  GPIO_InitStruct.Mode = GPIO_MODE_AF_PP;
  GPIO_InitStruct.Pull = GPIO_NOPULL;
  GPIO_InitStruct.Speed = GPIO_SPEED_FREQ_LOW;
  GPIO_InitStruct.Alternate = GPIO_AF14_LTDC;
  HAL_GPIO_Init(GPIOI, &GPIO_InitStruct);

  /*Configure GPIO pin : LCD_BL_CTRL_Pin */
  GPIO_InitStruct.Pin = LCD_BL_CTRL_Pin;
  GPIO_InitStruct.Mode = GPIO_MODE_OUTPUT_PP;
  GPIO_InitStruct.Pull = GPIO_NOPULL;
  GPIO_InitStruct.Speed = GPIO_SPEED_FREQ_LOW;
  HAL_GPIO_Init(LCD_BL_CTRL_GPIO_Port, &GPIO_InitStruct);

  /*Configure GPIO pin : DCMI_VSYNC_Pin */
  GPIO_InitStruct.Pin = DCMI_VSYNC_Pin;
  GPIO_InitStruct.Mode = GPIO_MODE_AF_PP;
  GPIO_InitStruct.Pull = GPIO_NOPULL;
  GPIO_InitStruct.Speed = GPIO_SPEED_FREQ_LOW;
  GPIO_InitStruct.Alternate = GPIO_AF13_DCMI;
  HAL_GPIO_Init(DCMI_VSYNC_GPIO_Port, &GPIO_InitStruct);

  /*Configure GPIO pin : OTG_FS_OverCurrent_Pin */
  GPIO_InitStruct.Pin = OTG_FS_OverCurrent_Pin;
  GPIO_InitStruct.Mode = GPIO_MODE_INPUT;
  GPIO_InitStruct.Pull = GPIO_NOPULL;
  HAL_GPIO_Init(OTG_FS_OverCurrent_GPIO_Port, &GPIO_InitStruct);

  /*Configure GPIO pin : SDMMC_D0_Pin */
  GPIO_InitStruct.Pin = SDMMC_D0_Pin;
  GPIO_InitStruct.Mode = GPIO_MODE_AF_PP;
  GPIO_InitStruct.Pull = GPIO_NOPULL;
  GPIO_InitStruct.Speed = GPIO_SPEED_FREQ_VERY_HIGH;
  GPIO_InitStruct.Alternate = GPIO_AF12_SDMMC1;
  HAL_GPIO_Init(SDMMC_D0_GPIO_Port, &GPIO_InitStruct);

  /*Configure GPIO pins : TP3_Pin NC2_Pin */
  GPIO_InitStruct.Pin = TP3_Pin|NC2_Pin;
  GPIO_InitStruct.Mode = GPIO_MODE_INPUT;
  GPIO_InitStruct.Pull = GPIO_NOPULL;
  HAL_GPIO_Init(GPIOH, &GPIO_InitStruct);

  /*Configure GPIO pin : ARDUINO_SCK_D13_Pin */
  GPIO_InitStruct.Pin = ARDUINO_SCK_D13_Pin;
  GPIO_InitStruct.Mode = GPIO_MODE_AF_PP;
  GPIO_InitStruct.Pull = GPIO_NOPULL;
  GPIO_InitStruct.Speed = GPIO_SPEED_FREQ_LOW;
  GPIO_InitStruct.Alternate = GPIO_AF5_SPI2;
  HAL_GPIO_Init(ARDUINO_SCK_D13_GPIO_Port, &GPIO_InitStruct);

  /*Configure GPIO pin : DCMI_PWR_EN_Pin */
  GPIO_InitStruct.Pin = DCMI_PWR_EN_Pin;
  GPIO_InitStruct.Mode = GPIO_MODE_OUTPUT_PP;
  GPIO_InitStruct.Pull = GPIO_NOPULL;
  GPIO_InitStruct.Speed = GPIO_SPEED_FREQ_LOW;
  HAL_GPIO_Init(DCMI_PWR_EN_GPIO_Port, &GPIO_InitStruct);

  /*Configure GPIO pins : DCMI_D4_Pin DCMI_D3_Pin DCMI_D0_Pin DCMI_D2_Pin
                           DCMI_D1_Pin */
  GPIO_InitStruct.Pin = DCMI_D4_Pin|DCMI_D3_Pin|DCMI_D0_Pin|DCMI_D2_Pin
                          |DCMI_D1_Pin;
  GPIO_InitStruct.Mode = GPIO_MODE_AF_PP;
  GPIO_InitStruct.Pull = GPIO_NOPULL;
  GPIO_InitStruct.Speed = GPIO_SPEED_FREQ_LOW;
  GPIO_InitStruct.Alternate = GPIO_AF13_DCMI;
  HAL_GPIO_Init(GPIOH, &GPIO_InitStruct);

  /*Configure GPIO pin : ARDUINO_PWM_CS_D5_Pin */
  GPIO_InitStruct.Pin = ARDUINO_PWM_CS_D5_Pin;
  GPIO_InitStruct.Mode = GPIO_MODE_AF_PP;
  GPIO_InitStruct.Pull = GPIO_NOPULL;
  GPIO_InitStruct.Speed = GPIO_SPEED_FREQ_LOW;
  GPIO_InitStruct.Alternate = GPIO_AF2_TIM5;
  HAL_GPIO_Init(ARDUINO_PWM_CS_D5_GPIO_Port, &GPIO_InitStruct);

  /*Configure GPIO pin : ARDUINO_PWM_D10_Pin */
  GPIO_InitStruct.Pin = ARDUINO_PWM_D10_Pin;
  GPIO_InitStruct.Mode = GPIO_MODE_AF_PP;
  GPIO_InitStruct.Pull = GPIO_NOPULL;
  GPIO_InitStruct.Speed = GPIO_SPEED_FREQ_LOW;
  GPIO_InitStruct.Alternate = GPIO_AF1_TIM1;
  HAL_GPIO_Init(ARDUINO_PWM_D10_GPIO_Port, &GPIO_InitStruct);

  /*Configure GPIO pin : LCD_INT_Pin */
  GPIO_InitStruct.Pin = LCD_INT_Pin;
  GPIO_InitStruct.Mode = GPIO_MODE_EVT_RISING;
  GPIO_InitStruct.Pull = GPIO_NOPULL;
  HAL_GPIO_Init(LCD_INT_GPIO_Port, &GPIO_InitStruct);

  /*Configure GPIO pins : ARDUINO_RX_D0_Pin ARDUINO_TX_D1_Pin */
  GPIO_InitStruct.Pin = ARDUINO_RX_D0_Pin|ARDUINO_TX_D1_Pin;
  GPIO_InitStruct.Mode = GPIO_MODE_AF_PP;
  GPIO_InitStruct.Pull = GPIO_NOPULL;
  GPIO_InitStruct.Speed = GPIO_SPEED_FREQ_VERY_HIGH;
  GPIO_InitStruct.Alternate = GPIO_AF8_USART6;
  HAL_GPIO_Init(GPIOC, &GPIO_InitStruct);

  /*Configure GPIO pin : ULPI_NXT_Pin */
  GPIO_InitStruct.Pin = ULPI_NXT_Pin;
  GPIO_InitStruct.Mode = GPIO_MODE_AF_PP;
  GPIO_InitStruct.Pull = GPIO_NOPULL;
  GPIO_InitStruct.Speed = GPIO_SPEED_FREQ_VERY_HIGH;
  GPIO_InitStruct.Alternate = GPIO_AF10_OTG_HS;
  HAL_GPIO_Init(ULPI_NXT_GPIO_Port, &GPIO_InitStruct);

  /*Configure GPIO pins : FMC_SDNME_Pin FMC_SDNE0_Pin */
  GPIO_InitStruct.Pin = FMC_SDNME_Pin|FMC_SDNE0_Pin;
  GPIO_InitStruct.Mode = GPIO_MODE_AF_PP;
  GPIO_InitStruct.Pull = GPIO_NOPULL;
  GPIO_InitStruct.Speed = GPIO_SPEED_FREQ_VERY_HIGH;
  GPIO_InitStruct.Alternate = GPIO_AF12_FMC;
  HAL_GPIO_Init(GPIOH, &GPIO_InitStruct);

  /*Configure GPIO pins : ARDUINO_D4_Pin ARDUINO_D2_Pin EXT_RST_Pin */
  GPIO_InitStruct.Pin = ARDUINO_D4_Pin|ARDUINO_D2_Pin|EXT_RST_Pin;
  GPIO_InitStruct.Mode = GPIO_MODE_OUTPUT_PP;
  GPIO_InitStruct.Pull = GPIO_NOPULL;
  GPIO_InitStruct.Speed = GPIO_SPEED_FREQ_LOW;
  HAL_GPIO_Init(GPIOG, &GPIO_InitStruct);

  /*Configure GPIO pins : ARDUINO_A4_Pin ARDUINO_A5_Pin ARDUINO_A1_Pin ARDUINO_A2_Pin
                           ARDUINO_A3_Pin */
  GPIO_InitStruct.Pin = ARDUINO_A4_Pin|ARDUINO_A5_Pin|ARDUINO_A1_Pin|ARDUINO_A2_Pin
                          |ARDUINO_A3_Pin;
  GPIO_InitStruct.Mode = GPIO_MODE_ANALOG;
  GPIO_InitStruct.Pull = GPIO_NOPULL;
  HAL_GPIO_Init(GPIOF, &GPIO_InitStruct);

  /*Configure GPIO pin : FMC_SDCKE0_Pin */
  GPIO_InitStruct.Pin = FMC_SDCKE0_Pin;
  GPIO_InitStruct.Mode = GPIO_MODE_AF_PP;
  GPIO_InitStruct.Pull = GPIO_NOPULL;
  GPIO_InitStruct.Speed = GPIO_SPEED_FREQ_VERY_HIGH;
  GPIO_InitStruct.Alternate = GPIO_AF12_FMC;
  HAL_GPIO_Init(FMC_SDCKE0_GPIO_Port, &GPIO_InitStruct);

  /*Configure GPIO pins : ULPI_STP_Pin ULPI_DIR_Pin */
  GPIO_InitStruct.Pin = ULPI_STP_Pin|ULPI_DIR_Pin;
  GPIO_InitStruct.Mode = GPIO_MODE_AF_PP;
  GPIO_InitStruct.Pull = GPIO_NOPULL;
  GPIO_InitStruct.Speed = GPIO_SPEED_FREQ_VERY_HIGH;
  GPIO_InitStruct.Alternate = GPIO_AF10_OTG_HS;
  HAL_GPIO_Init(GPIOC, &GPIO_InitStruct);

  /*Configure GPIO pins : RMII_MDC_Pin RMII_RXD0_Pin RMII_RXD1_Pin */
  GPIO_InitStruct.Pin = RMII_MDC_Pin|RMII_RXD0_Pin|RMII_RXD1_Pin;
  GPIO_InitStruct.Mode = GPIO_MODE_AF_PP;
  GPIO_InitStruct.Pull = GPIO_NOPULL;
  GPIO_InitStruct.Speed = GPIO_SPEED_FREQ_VERY_HIGH;
  GPIO_InitStruct.Alternate = GPIO_AF11_ETH;
  HAL_GPIO_Init(GPIOC, &GPIO_InitStruct);

  /*Configure GPIO pin : PB2 */
  GPIO_InitStruct.Pin = GPIO_PIN_2;
  GPIO_InitStruct.Mode = GPIO_MODE_AF_PP;
  GPIO_InitStruct.Pull = GPIO_NOPULL;
  GPIO_InitStruct.Speed = GPIO_SPEED_FREQ_VERY_HIGH;
  GPIO_InitStruct.Alternate = GPIO_AF9_QUADSPI;
  HAL_GPIO_Init(GPIOB, &GPIO_InitStruct);

  /*Configure GPIO pins : QSPI_D1_Pin QSPI_D3_Pin QSPI_D0_Pin */
  GPIO_InitStruct.Pin = QSPI_D1_Pin|QSPI_D3_Pin|QSPI_D0_Pin;
  GPIO_InitStruct.Mode = GPIO_MODE_AF_PP;
  GPIO_InitStruct.Pull = GPIO_NOPULL;
  GPIO_InitStruct.Speed = GPIO_SPEED_FREQ_VERY_HIGH;
  GPIO_InitStruct.Alternate = GPIO_AF9_QUADSPI;
  HAL_GPIO_Init(GPIOD, &GPIO_InitStruct);

  /*Configure GPIO pin : RMII_RXER_Pin */
  GPIO_InitStruct.Pin = RMII_RXER_Pin;
  GPIO_InitStruct.Mode = GPIO_MODE_INPUT;
  GPIO_InitStruct.Pull = GPIO_NOPULL;
  HAL_GPIO_Init(RMII_RXER_GPIO_Port, &GPIO_InitStruct);

  /*Configure GPIO pins : RMII_REF_CLK_Pin RMII_MDIO_Pin RMII_CRS_DV_Pin */
  GPIO_InitStruct.Pin = RMII_REF_CLK_Pin|RMII_MDIO_Pin|RMII_CRS_DV_Pin;
  GPIO_InitStruct.Mode = GPIO_MODE_AF_PP;
  GPIO_InitStruct.Pull = GPIO_NOPULL;
  GPIO_InitStruct.Speed = GPIO_SPEED_FREQ_VERY_HIGH;
  GPIO_InitStruct.Alternate = GPIO_AF11_ETH;
  HAL_GPIO_Init(GPIOA, &GPIO_InitStruct);

  /*Configure GPIO pin : ARDUINO_A0_Pin */
  GPIO_InitStruct.Pin = ARDUINO_A0_Pin;
  GPIO_InitStruct.Mode = GPIO_MODE_ANALOG;
  GPIO_InitStruct.Pull = GPIO_NOPULL;
  HAL_GPIO_Init(ARDUINO_A0_GPIO_Port, &GPIO_InitStruct);

  /*Configure GPIO pins : DCMI_HSYNC_Pin PA6 */
  GPIO_InitStruct.Pin = DCMI_HSYNC_Pin|GPIO_PIN_6;
  GPIO_InitStruct.Mode = GPIO_MODE_AF_PP;
  GPIO_InitStruct.Pull = GPIO_NOPULL;
  GPIO_InitStruct.Speed = GPIO_SPEED_FREQ_LOW;
  GPIO_InitStruct.Alternate = GPIO_AF13_DCMI;
  HAL_GPIO_Init(GPIOA, &GPIO_InitStruct);

  /*Configure GPIO pins : LCD_SCL_Pin LCD_SDA_Pin */
  GPIO_InitStruct.Pin = LCD_SCL_Pin|LCD_SDA_Pin;
  GPIO_InitStruct.Mode = GPIO_MODE_AF_OD;
  GPIO_InitStruct.Pull = GPIO_NOPULL;
  GPIO_InitStruct.Speed = GPIO_SPEED_FREQ_VERY_HIGH;
  GPIO_InitStruct.Alternate = GPIO_AF4_I2C3;
  HAL_GPIO_Init(GPIOH, &GPIO_InitStruct);

  /*Configure GPIO pins : ULPI_CLK_Pin ULPI_D0_Pin */
  GPIO_InitStruct.Pin = ULPI_CLK_Pin|ULPI_D0_Pin;
  GPIO_InitStruct.Mode = GPIO_MODE_AF_PP;
  GPIO_InitStruct.Pull = GPIO_NOPULL;
  GPIO_InitStruct.Speed = GPIO_SPEED_FREQ_VERY_HIGH;
  GPIO_InitStruct.Alternate = GPIO_AF10_OTG_HS;
  HAL_GPIO_Init(GPIOA, &GPIO_InitStruct);

  /*Configure GPIO pin : ARDUINO_PWM_D6_Pin */
  GPIO_InitStruct.Pin = ARDUINO_PWM_D6_Pin;
  GPIO_InitStruct.Mode = GPIO_MODE_AF_PP;
  GPIO_InitStruct.Pull = GPIO_NOPULL;
  GPIO_InitStruct.Speed = GPIO_SPEED_FREQ_LOW;
  GPIO_InitStruct.Alternate = GPIO_AF9_TIM12;
  HAL_GPIO_Init(ARDUINO_PWM_D6_GPIO_Port, &GPIO_InitStruct);

}

/* USER CODE BEGIN 4 */

void rtc_report_callback(xTimerHandle xTimer)
{
	show_time_date_itm();
}

void led_effect_callback(xTimerHandle xTimer)
{
	int id;
	id = (uint32_t) pvTimerGetTimerID(xTimer);
	switch(id)
	{
	case 1:
		led_effect1();
		break;
	case 2:
		led_effect2();
		break;
	case 3:
		led_effect3();
		break;
	case 4:
		led_effect4();
		break;
	}
}

void HAL_UART_RxCpltCallback(UART_HandleTypeDef *huart)
{
	uint8_t dummy;

	for(uint32_t i = 0 ; i < 4000 ; i++);

	if(! xQueueIsQueueFullFromISR(q_data))
	{
		/*Enqueue data byte */
		xQueueSendFromISR(q_data , (void*)&user_data , NULL);
	}else{
		if(user_data == '\n')
		{
			/*Make sure that last data byte of the queue is '\n' */
			xQueueReceiveFromISR(q_data,(void*)&dummy,NULL);
			xQueueSendFromISR(q_data ,(void*)&user_data , NULL);
		}
	}

	/*Send notification to command handling task if user_data = '\n' */
	if( user_data == '\n' ){
		/*send notification to command handling task */
		xTaskNotifyFromISR (handle_cmd_task,0,eNoAction,NULL);
	}

	/* Enable UART data byte reception again in IT mode */
	 HAL_UART_Receive_IT(&huart1, (uint8_t*)&user_data, 1);

}

/* USER CODE END 4 */

void HAL_TIM_PeriodElapsedCallback(TIM_HandleTypeDef *htim)
{
  if (htim->Instance == TIM6) {
    HAL_IncTick();
  }
}

void Error_Handler(void)
{
  __disable_irq();
  while (1)
  {
  }
}
